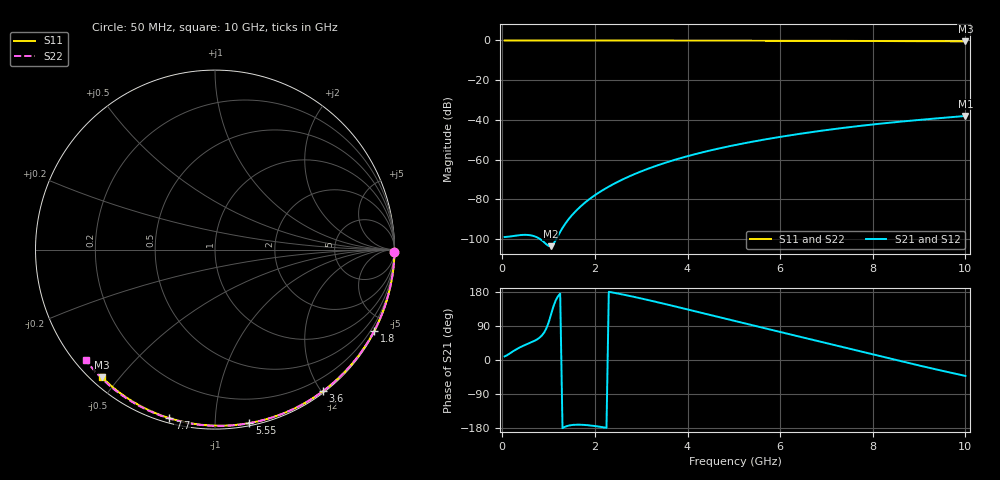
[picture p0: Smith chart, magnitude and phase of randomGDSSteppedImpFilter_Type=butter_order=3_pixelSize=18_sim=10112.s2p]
! freq	dB(S11)	phase(S11)	dB(S12)	phase(S12)
!  dB(S21)	phase(S21)	dB(S22)	phase(S22)
!S-par simulation data
#  GHz  S  DB  R 50
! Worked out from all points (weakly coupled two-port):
!   200 points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, 50 MHz to 10 GHz, reference 50 ohm
!   highest |S21| = -38.05 dB at 10 GHz (marker M1); lowest = -103.7 dB at 1.05 GHz (marker M2)
!   lowest |S11| = -0.4 dB at 10 GHz (marker M3), VSWR 39.03, Z = 1.54 - j22.5 ohm
!   |S11| at or under -10 dB: nowhere
!   |S22| runs from -0.5 to 0.0 dB; largest |S21 - S12| = 0
!   S11 on the Smith chart (normalised r, x): 50 MHz: open; 1.8 GHz: 0.04, -4.17; 3.6 GHz: 0.02, -2.02; 5.55 GHz: 0.02, -1.22; 7.7 GHz: 0.02, -0.76; 10 GHz: 0.03, -0.45
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0.05  -0.00 -0.8  -99.08 9.5  -99.08 9.5  -0.00 -0.8
0.55  -0.01 -8.4  -98.02 42.7  -98.02 42.7  -0.01 -8.9
1.05  -0.02 -15.9  -103.68 119.0  -103.68 119.0  -0.02 -16.8
1.75  -0.03 -26.2  -82.43 -171.2  -82.43 -171.2  -0.04 -27.8
1.8  -0.03 -27.0  -81.46 -171.6  -81.46 -171.6  -0.04 -28.6
1.85  -0.04 -27.7  -80.54 -172.1  -80.54 -172.1  -0.04 -29.4
1.9  -0.04 -28.4  -79.65 -172.8  -79.65 -172.8  -0.04 -30.2
2.05  -0.04 -30.6  -77.20 -175.1  -77.20 -175.1  -0.04 -32.5
2.25  -0.04 -33.6  -74.31 -179.0  -74.31 -179.0  -0.05 -35.6
2.65  -0.05 -39.3  -69.47 171.6  -69.47 171.6  -0.05 -41.7
3  -0.06 -44.3  -65.97 162.4  -65.97 162.4  -0.06 -47.0
3.4  -0.07 -50.0  -62.56 151.1  -62.56 151.1  -0.07 -52.9
3.6  -0.07 -52.7  -61.04 145.3  -61.04 145.3  -0.08 -55.9
4.3  -0.09 -62.3  -56.50 124.5  -56.50 124.5  -0.09 -66.0
5.05  -0.11 -72.3  -52.60 102.1  -52.60 102.1  -0.12 -76.5
5.55  -0.13 -78.8  -50.39 87.3  -50.39 87.3  -0.14 -83.3
6.1  -0.15 -85.8  -48.23 71.0  -48.23 71.0  -0.16 -90.7
6.7  -0.18 -93.2  -46.12 53.3  -46.12 53.3  -0.19 -98.5
7.7  -0.24 -105.2  -43.12 23.5  -43.12 23.5  -0.25 -111.2
8.35  -0.29 -112.8  -41.49 4.3  -41.49 4.3  -0.30 -119.3
9.2  -0.36 -122.5  -39.64 -20.1  -39.64 -20.1  -0.38 -129.7
10  -0.45 -131.6  -38.05 -42.0  -38.05 -42.0  -0.47 -139.4
